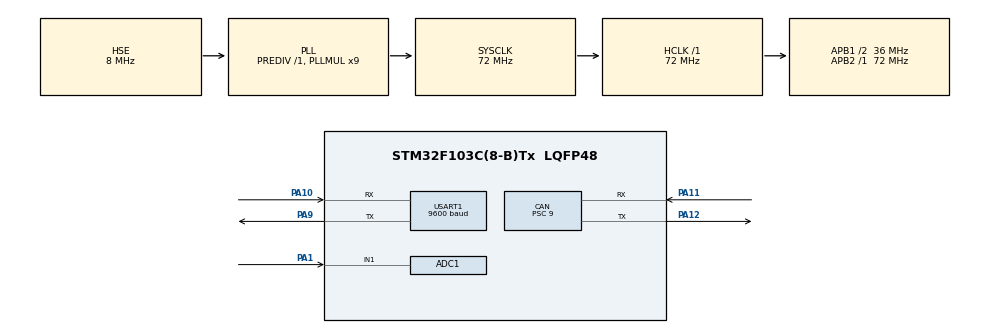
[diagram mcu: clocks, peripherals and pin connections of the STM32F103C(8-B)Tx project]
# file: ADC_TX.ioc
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ADC1.Channel-3\#ChannelRegularConversion=ADC_CHANNEL_1
ADC1.ContinuousConvMode=ENABLE
ADC1.NbrOfConversionFlag=1
ADC1.Rank-3\#ChannelRegularConversion=1
ADC1.SamplingTime-3\#ChannelRegularConversion=ADC_SAMPLETIME_1CYCLE_5
ADC1.master=1
CAN.BS1=CAN_BS1_2TQ
CAN.CalculateBaudRate=1000000
CAN.CalculateTimeBit=1000.00
CAN.CalculateTimeQuantum=250.0
CAN.Prescaler=9
Mcu.Family=STM32F1
Mcu.Name=STM32F103C(8-B)Tx
Mcu.Package=LQFP48
NVIC.PriorityGroup=NVIC_PRIORITYGROUP_4
NVIC.USB_LP_CAN1_RX0_IRQn=true\:0\:0\:false\:false\:true\:true\:true
PA1.Signal=ADCx_IN1
PA10.Mode=Asynchronous
PA10.Signal=USART1_RX
PA11.Mode=CAN_Activate
PA11.Signal=CAN_RX
PA12.Mode=CAN_Activate
PA12.Signal=CAN_TX
PA13.Mode=Serial_Wire
PA13.Signal=SYS_JTMS-SWDIO
PA14.Mode=Serial_Wire
PA14.Signal=SYS_JTCK-SWCLK
PA9.Mode=Asynchronous
PA9.Signal=USART1_TX
PD0-OSC_IN.Mode=HSE-External-Oscillator
PD0-OSC_IN.Signal=RCC_OSC_IN
PD1-OSC_OUT.Mode=HSE-External-Oscillator
PD1-OSC_OUT.Signal=RCC_OSC_OUT
ProjectManager.HeapSize=0x200
ProjectManager.StackSize=0x400
ProjectManager.TargetToolchain=MDK-ARM V5.27
RCC.ADCPresc=RCC_ADCPCLK2_DIV6
RCC.AHBFreq_Value=72000000
RCC.APB1CLKDivider=RCC_HCLK_DIV2
RCC.APB1Freq_Value=36000000
RCC.APB1TimFreq_Value=72000000
RCC.APB2Freq_Value=72000000
RCC.APB2TimFreq_Value=72000000
RCC.HCLKFreq_Value=72000000
RCC.PLLMUL=RCC_PLL_MUL9
RCC.PLLSourceVirtual=RCC_PLLSOURCE_HSE
RCC.SYSCLKFreq_VALUE=72000000
RCC.SYSCLKSource=RCC_SYSCLKSOURCE_PLLCLK
RCC.USBFreq_Value=72000000
SH.ADCx_IN1.0=ADC1_IN1,IN1
USART1.BaudRate=9600
USART1.VirtualMode=VM_ASYNC
board=custom

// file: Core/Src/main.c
/* USER CODE BEGIN Header */
/**
  ******************************************************************************
  * @file           : main.c
  * @brief          : Main program body
  ******************************************************************************
  * @attention
  *
  * <h2><center>&copy; Copyright (c) 2022 STMicroelectronics.
  * All rights reserved.</center></h2>
  *
  * This software component is licensed by ST under BSD 3-Clause license,
  * the "License"; You may not use this file except in compliance with the
  * License. You may obtain a copy of the License at:
  *                        opensource.org/licenses/BSD-3-Clause
  *
  ******************************************************************************
  */
/* USER CODE END Header */
#include "main.h"

/* USER CODE BEGIN Includes */
#include "stdio.h"
#include "string.h"
/* USER CODE END Includes */

ADC_HandleTypeDef hadc1;

CAN_HandleTypeDef hcan;

UART_HandleTypeDef huart1;

/* USER CODE BEGIN PV */
uint8_t adcValue;
uint32_t pTxMailBox;
CAN_TxHeaderTypeDef pHeader;
CAN_FilterTypeDef sFilterConfig;

char MSG[35] = {'\0'};
/* USER CODE END PV */

void SystemClock_Config(void);
static void MX_GPIO_Init(void);
static void MX_CAN_Init(void);
static void MX_ADC1_Init(void);
static void MX_USART1_UART_Init(void);

int main(void)
{

  /* MCU Configuration--------------------------------------------------------*/

  /* Reset of all peripherals, Initializes the Flash interface and the Systick. */
  HAL_Init();

  /* Configure the system clock */
  SystemClock_Config();

  /* Initialize all configured peripherals */
  MX_GPIO_Init();
  MX_CAN_Init();
  MX_ADC1_Init();
  MX_USART1_UART_Init();
  /* USER CODE BEGIN 2 */
	pHeader.DLC = 1;
	pHeader.IDE = CAN_ID_STD;
	pHeader.RTR = CAN_RTR_DATA;
	pHeader.StdId = 0x0001;

	sFilterConfig.FilterActivation = ENABLE;
	sFilterConfig.FilterBank = 0;
	sFilterConfig.FilterFIFOAssignment = CAN_FILTER_FIFO0;
	sFilterConfig.FilterIdHigh = 0x0000;
	sFilterConfig.FilterIdLow = 0x0000;
	sFilterConfig.FilterMaskIdHigh = 0x0000;
	sFilterConfig.FilterIdLow = 0x0000;
	sFilterConfig.FilterMode = CAN_FILTERMODE_IDMASK;
	sFilterConfig.FilterScale = CAN_FILTERSCALE_16BIT;

	HAL_CAN_ConfigFilter(&hcan,&sFilterConfig);

	HAL_CAN_Start(&hcan);
	HAL_ADC_Start(&hadc1);

  /* USER CODE END 2 */

  /* Infinite loop */
  while (1)
  {

    /* USER CODE BEGIN 3 */
		 adcValue = HAL_ADC_GetValue(&hadc1);
		 sprintf(MSG, "Distance = %d\r\n", adcValue);
     HAL_UART_Transmit(&huart1, (uint8_t*)MSG, sizeof(MSG), 100);
     HAL_Delay(100);

		 HAL_CAN_AddTxMessage(&hcan,&pHeader,&adcValue,&pTxMailBox);
		 HAL_Delay(100);
  }
  /* USER CODE END 3 */
}

void SystemClock_Config(void)
{
  RCC_OscInitTypeDef RCC_OscInitStruct = {0};
  RCC_ClkInitTypeDef RCC_ClkInitStruct = {0};
  RCC_PeriphCLKInitTypeDef PeriphClkInit = {0};

  /** Initializes the RCC Oscillators according to the specified parameters
  * in the RCC_OscInitTypeDef structure.
  */
  RCC_OscInitStruct.OscillatorType = RCC_OSCILLATORTYPE_HSE;
  RCC_OscInitStruct.HSEState = RCC_HSE_ON;
  RCC_OscInitStruct.HSEPredivValue = RCC_HSE_PREDIV_DIV1;
  RCC_OscInitStruct.HSIState = RCC_HSI_ON;
  RCC_OscInitStruct.PLL.PLLState = RCC_PLL_ON;
  RCC_OscInitStruct.PLL.PLLSource = RCC_PLLSOURCE_HSE;
  RCC_OscInitStruct.PLL.PLLMUL = RCC_PLL_MUL9;
  if (HAL_RCC_OscConfig(&RCC_OscInitStruct) != HAL_OK)
  {
    Error_Handler();
  }
  /** Initializes the CPU, AHB and APB buses clocks
  */
  RCC_ClkInitStruct.ClockType = RCC_CLOCKTYPE_HCLK|RCC_CLOCKTYPE_SYSCLK
                              |RCC_CLOCKTYPE_PCLK1|RCC_CLOCKTYPE_PCLK2;
  RCC_ClkInitStruct.SYSCLKSource = RCC_SYSCLKSOURCE_PLLCLK;
  RCC_ClkInitStruct.AHBCLKDivider = RCC_SYSCLK_DIV1;
  RCC_ClkInitStruct.APB1CLKDivider = RCC_HCLK_DIV2;
  RCC_ClkInitStruct.APB2CLKDivider = RCC_HCLK_DIV1;

  if (HAL_RCC_ClockConfig(&RCC_ClkInitStruct, FLASH_LATENCY_2) != HAL_OK)
  {
    Error_Handler();
  }
  PeriphClkInit.PeriphClockSelection = RCC_PERIPHCLK_ADC;
  PeriphClkInit.AdcClockSelection = RCC_ADCPCLK2_DIV6;
  if (HAL_RCCEx_PeriphCLKConfig(&PeriphClkInit) != HAL_OK)
  {
    Error_Handler();
  }
}

static void MX_ADC1_Init(void)
{

  ADC_ChannelConfTypeDef sConfig = {0};

  /** Common config
  */
  hadc1.Instance = ADC1;
  hadc1.Init.ScanConvMode = ADC_SCAN_DISABLE;
  hadc1.Init.ContinuousConvMode = ENABLE;
  hadc1.Init.DiscontinuousConvMode = DISABLE;
  hadc1.Init.ExternalTrigConv = ADC_SOFTWARE_START;
  hadc1.Init.DataAlign = ADC_DATAALIGN_RIGHT;
  hadc1.Init.NbrOfConversion = 1;
  if (HAL_ADC_Init(&hadc1) != HAL_OK)
  {
    Error_Handler();
  }
  /** Configure Regular Channel
  */
  sConfig.Channel = ADC_CHANNEL_1;
  sConfig.Rank = ADC_REGULAR_RANK_1;
  sConfig.SamplingTime = ADC_SAMPLETIME_1CYCLE_5;
  if (HAL_ADC_ConfigChannel(&hadc1, &sConfig) != HAL_OK)
  {
    Error_Handler();
  }

}

static void MX_CAN_Init(void)
{

  hcan.Instance = CAN1;
  hcan.Init.Prescaler = 9;
  hcan.Init.Mode = CAN_MODE_NORMAL;
  hcan.Init.SyncJumpWidth = CAN_SJW_1TQ;
  hcan.Init.TimeSeg1 = CAN_BS1_2TQ;
  hcan.Init.TimeSeg2 = CAN_BS2_1TQ;
  hcan.Init.TimeTriggeredMode = DISABLE;
  hcan.Init.AutoBusOff = DISABLE;
  hcan.Init.AutoWakeUp = DISABLE;
  hcan.Init.AutoRetransmission = DISABLE;
  hcan.Init.ReceiveFifoLocked = DISABLE;
  hcan.Init.TransmitFifoPriority = DISABLE;
  if (HAL_CAN_Init(&hcan) != HAL_OK)
  {
    Error_Handler();
  }

}

static void MX_USART1_UART_Init(void)
{

  huart1.Instance = USART1;
  huart1.Init.BaudRate = 9600;
  huart1.Init.WordLength = UART_WORDLENGTH_8B;
  huart1.Init.StopBits = UART_STOPBITS_1;
  huart1.Init.Parity = UART_PARITY_NONE;
  huart1.Init.Mode = UART_MODE_TX_RX;
  huart1.Init.HwFlowCtl = UART_HWCONTROL_NONE;
  huart1.Init.OverSampling = UART_OVERSAMPLING_16;
  if (HAL_UART_Init(&huart1) != HAL_OK)
  {
    Error_Handler();
  }

}

static void MX_GPIO_Init(void)
{

  /* GPIO Ports Clock Enable */
  __HAL_RCC_GPIOD_CLK_ENABLE();
  __HAL_RCC_GPIOA_CLK_ENABLE();

}

void Error_Handler(void)
{
  __disable_irq();
  while (1)
  {
  }
}

/************************ (C) COPYRIGHT STMicroelectronics *****END OF FILE****/
